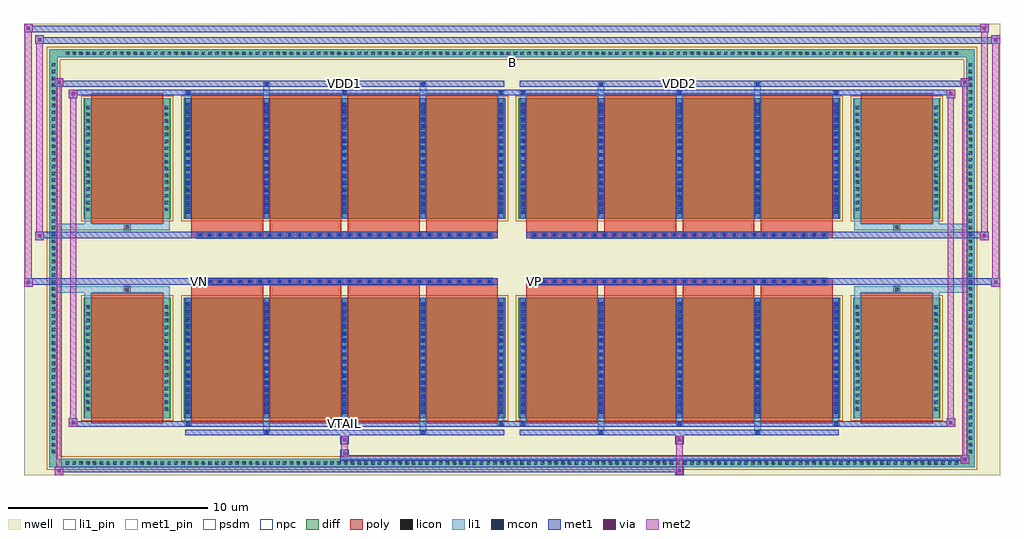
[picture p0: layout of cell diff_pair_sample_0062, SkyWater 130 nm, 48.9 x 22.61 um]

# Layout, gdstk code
import gdstk
lib = gdstk.Library(unit=1e-6, precision=5e-09)
def R(c, l, rs):  # rectangles x0, y0, x1, y1
    for r in rs: c.add(gdstk.rectangle(r[:2], r[2:], *l))
def A(c, l, x, y, w, h, nx, ny, dx, dy):  # array of equal rectangles
    R(c, l, [(x+i*dx, y+j*dy, x+i*dx+w, y+j*dy+h) for i in range(nx) for j in range(ny)])
def P(c, l, *ps):  # polygons
    for p in ps: c.add(gdstk.Polygon(p, *l))
nwell = (64, 20)
diff = (65, 20)
poly = (66, 20)
licon = (66, 44)
li1_pin = (67, 16)
li1 = (67, 20)
mcon = (67, 44)
met1_pin = (68, 16)
met1 = (68, 20)
via = (68, 44)
met2 = (69, 20)
psdm = (94, 20)
npc = (95, 20)

diff_pair_sample_0062 = lib.new_cell('diff_pair_sample_0062')
R(diff_pair_sample_0062, nwell, [(-24.45,-10.87,24.45,11.74), (-21.77,-9.06,-0.01,-0.8), (0.01,-9.06,21.77,-0.8), (-21.77,0.8,-0.01,9.06), (0.01,0.8,21.77,9.06)])
A(diff_pair_sample_0062, diff, -22.475, -10.47, 0.41, 0.41, 132, 2, 0.34, 20.53)
A(diff_pair_sample_0062, diff, -23.18, -9.895, 0.41, 0.41, 1, 58, 0, 0.34)
A(diff_pair_sample_0062, diff, 22.77, -9.895, 0.41, 0.41, 1, 58, 0, 0.34)
R(diff_pair_sample_0062, diff, [(-22.475,-10.47,22.475,-10.06), (-23.18,-9.895,-22.77,9.895), (22.77,-9.895,23.18,9.895), (-21.46,-8.015,-17.09,-1.985), (-16.45,-8.015,-0.32,-1.985), (0.32,-8.015,16.45,-1.985), (17.09,-8.015,21.46,-1.985), (-21.46,1.985,-17.09,8.015), (-16.45,1.985,-0.32,8.015), (0.32,1.985,16.45,8.015), (17.09,1.985,21.46,8.015), (-22.475,10.06,22.475,10.47)])
P(diff_pair_sample_0062, diff, [(23.18,10.47),(-23.18,10.47),(-23.18,-10.06),(-22.77,-10.06),(-22.77,10.06),(22.77,10.06),(22.77,-10.06),(-22.77,-10.06),(-23.18,-10.06),(-23.18,-10.47),(23.18,-10.47)])
A(diff_pair_sample_0062, poly, -16.06, -8.265, 3.59, 6.53, 4, 2, 3.92, 10)
A(diff_pair_sample_0062, poly, 0.71, -8.265, 3.59, 6.53, 4, 2, 3.92, 10)
A(diff_pair_sample_0062, poly, -16.06, -1.735, 3.59, 0.405, 4, 2, 3.92, 3.065)
A(diff_pair_sample_0062, poly, 0.71, -1.735, 3.59, 0.405, 4, 2, 3.92, 3.065)
A(diff_pair_sample_0062, poly, -15.8, -1.33, 0.33, 0.33, 30, 2, 0.5, 2.33)
A(diff_pair_sample_0062, poly, 0.97, -1.33, 0.33, 0.33, 30, 2, 0.5, 2.33)
R(diff_pair_sample_0062, poly, [(-21.07,-8.265,-17.48,-1.735), (17.48,-8.265,21.07,-1.735), (-19.44,-1.735,-19.11,-1.405), (-19.44,-1.735,-19.11,-1.405), (19.11,-1.735,19.44,-1.405), (19.11,-1.735,19.44,-1.405), (-16.06,-1.33,-0.71,-1), (0.71,-1.33,16.06,-1), (-16.06,1,-0.71,1.33), (0.71,1,16.06,1.33), (-19.44,1.405,-19.11,1.735), (-19.44,1.405,-19.11,1.735), (19.11,1.405,19.44,1.735), (19.11,1.405,19.44,1.735), (-21.07,1.735,-17.48,8.265), (17.48,1.735,21.07,8.265)])
A(diff_pair_sample_0062, licon, -22.355, -10.35, 0.17, 0.17, 132, 2, 0.34, 20.53)
A(diff_pair_sample_0062, licon, -23.06, -9.775, 0.17, 0.17, 1, 58, 0, 0.34)
A(diff_pair_sample_0062, licon, 22.89, -9.775, 0.17, 0.17, 1, 58, 0, 0.34)
A(diff_pair_sample_0062, licon, -21.32, -7.635, 0.17, 0.17, 1, 16, 0, 0.34)
A(diff_pair_sample_0062, licon, -17.4, -7.635, 0.17, 0.17, 1, 16, 0, 0.34)
A(diff_pair_sample_0062, licon, -16.31, -7.635, 0.17, 0.17, 5, 16, 3.92, 0.34)
A(diff_pair_sample_0062, licon, 0.46, -7.635, 0.17, 0.17, 5, 16, 3.92, 0.34)
A(diff_pair_sample_0062, licon, 17.23, -7.635, 0.17, 0.17, 1, 16, 0, 0.34)
A(diff_pair_sample_0062, licon, 21.15, -7.635, 0.17, 0.17, 1, 16, 0, 0.34)
A(diff_pair_sample_0062, licon, -15.72, -1.25, 0.17, 0.17, 30, 2, 0.5, 2.33)
A(diff_pair_sample_0062, licon, 1.05, -1.25, 0.17, 0.17, 30, 2, 0.5, 2.33)
A(diff_pair_sample_0062, licon, -21.32, 2.365, 0.17, 0.17, 1, 16, 0, 0.34)
A(diff_pair_sample_0062, licon, -17.4, 2.365, 0.17, 0.17, 1, 16, 0, 0.34)
A(diff_pair_sample_0062, licon, -16.31, 2.365, 0.17, 0.17, 5, 16, 3.92, 0.34)
A(diff_pair_sample_0062, licon, 0.46, 2.365, 0.17, 0.17, 5, 16, 3.92, 0.34)
A(diff_pair_sample_0062, licon, 17.23, 2.365, 0.17, 0.17, 1, 16, 0, 0.34)
A(diff_pair_sample_0062, licon, 21.15, 2.365, 0.17, 0.17, 1, 16, 0, 0.34)
R(diff_pair_sample_0062, licon, [(-19.36,-1.655,-19.19,-1.485), (19.19,-1.655,19.36,-1.485), (-19.36,1.485,-19.19,1.655), (19.19,1.485,19.36,1.655)])
R(diff_pair_sample_0062, li1_pin, [(-0.25,9.56,0.25,10.06)])
A(diff_pair_sample_0062, li1, -22.435, -10.43, 0.33, 0.33, 132, 2, 0.34, 20.53)
A(diff_pair_sample_0062, li1, -23.14, -9.855, 0.33, 0.33, 1, 58, 0, 0.34)
A(diff_pair_sample_0062, li1, 22.81, -9.855, 0.33, 0.33, 1, 58, 0, 0.34)
A(diff_pair_sample_0062, li1, -16.39, -8.39, 0.33, 0.375, 3, 2, 7.84, 16.405)
A(diff_pair_sample_0062, li1, -16.31, -8.39, 0.17, 0.17, 3, 2, 7.84, 16.61)
A(diff_pair_sample_0062, li1, 0.38, -8.39, 0.33, 0.375, 3, 2, 7.84, 16.405)
A(diff_pair_sample_0062, li1, 0.46, -8.39, 0.17, 0.17, 3, 2, 7.84, 16.61)
A(diff_pair_sample_0062, li1, -16.39, -8.015, 0.33, 6.03, 5, 2, 3.92, 10)
A(diff_pair_sample_0062, li1, 0.38, -8.015, 0.33, 6.03, 5, 2, 3.92, 10)
A(diff_pair_sample_0062, li1, -16.31, -7.785, 0.17, 0.17, 5, 16, 3.92, 0.36)
A(diff_pair_sample_0062, li1, -16.31, -7.785, 0.17, 5.57, 5, 2, 3.92, 10)
A(diff_pair_sample_0062, li1, 0.46, -7.785, 0.17, 0.17, 5, 16, 3.92, 0.36)
A(diff_pair_sample_0062, li1, 0.46, -7.785, 0.17, 5.57, 5, 2, 3.92, 10)
A(diff_pair_sample_0062, li1, -21.4, -7.715, 0.33, 0.33, 1, 16, 0, 0.34)
A(diff_pair_sample_0062, li1, -17.48, -7.715, 0.33, 0.33, 1, 16, 0, 0.34)
A(diff_pair_sample_0062, li1, -16.39, -7.715, 0.33, 0.33, 5, 16, 3.92, 0.34)
A(diff_pair_sample_0062, li1, 0.38, -7.715, 0.33, 0.33, 5, 16, 3.92, 0.34)
A(diff_pair_sample_0062, li1, 17.15, -7.715, 0.33, 0.33, 1, 16, 0, 0.34)
A(diff_pair_sample_0062, li1, 21.07, -7.715, 0.33, 0.33, 1, 16, 0, 0.34)
A(diff_pair_sample_0062, li1, -15.8, -1.33, 0.33, 0.33, 30, 2, 0.5, 2.33)
A(diff_pair_sample_0062, li1, 0.97, -1.33, 0.33, 0.33, 30, 2, 0.5, 2.33)
A(diff_pair_sample_0062, li1, -16.31, 2.215, 0.17, 0.17, 5, 16, 3.92, 0.36)
A(diff_pair_sample_0062, li1, 0.46, 2.215, 0.17, 0.17, 5, 16, 3.92, 0.36)
A(diff_pair_sample_0062, li1, -21.4, 2.285, 0.33, 0.33, 1, 16, 0, 0.34)
A(diff_pair_sample_0062, li1, -17.48, 2.285, 0.33, 0.33, 1, 16, 0, 0.34)
A(diff_pair_sample_0062, li1, -16.39, 2.285, 0.33, 0.33, 5, 16, 3.92, 0.34)
A(diff_pair_sample_0062, li1, 0.38, 2.285, 0.33, 0.33, 5, 16, 3.92, 0.34)
A(diff_pair_sample_0062, li1, 17.15, 2.285, 0.33, 0.33, 1, 16, 0, 0.34)
A(diff_pair_sample_0062, li1, 21.07, 2.285, 0.33, 0.33, 1, 16, 0, 0.34)
R(diff_pair_sample_0062, li1, [(-23.18,-10.47,-22.77,-10.06), (-23.18,-10.47,-22.77,-10.06), (-22.77,-10.47,22.77,-10.06), (22.77,-10.47,23.18,-10.06), (22.77,-10.47,23.18,-10.06), (-23.18,-10.06,-22.77,10.06), (22.77,-10.06,23.18,10.06), (-12.47,-8.82,-12.14,-8.015), (-12.39,-8.82,-12.22,-8.65), (-4.63,-8.82,-4.3,-8.015), (-4.55,-8.82,-4.38,-8.65), (4.3,-8.82,4.63,-8.015), (4.38,-8.82,4.55,-8.65), (12.14,-8.82,12.47,-8.015), (12.22,-8.82,12.39,-8.65), (-21.4,-8.015,-21.07,-1.985), (-17.48,-8.015,-17.15,-1.985), (17.15,-8.015,17.48,-1.985), (21.07,-8.015,21.4,-1.985), (-21.4,-1.985,-21.07,-1.405), (-17.48,-1.985,-17.15,-1.405), (17.15,-1.985,17.48,-1.405), (21.07,-1.985,21.4,-1.405), (-23.18,-1.735,-19.44,-1.405), (-21.4,-1.735,-19.44,-1.405), (-19.44,-1.735,-19.11,-1.405), (-19.11,-1.735,-17.15,-1.405), (17.15,-1.735,19.11,-1.405), (19.11,-1.735,19.44,-1.405), (19.11,-1.735,23.18,-1.405), (19.44,-1.735,21.4,-1.405), (-23.18,1.405,-19.44,1.735), (-21.4,1.405,-19.44,1.735), (-21.4,1.405,-21.07,1.985), (-19.44,1.405,-19.11,1.735), (-19.11,1.405,-17.15,1.735), (-17.48,1.405,-17.15,1.985), (17.15,1.405,19.11,1.735), (17.15,1.405,17.48,1.985), (19.11,1.405,19.44,1.735), (19.11,1.405,23.18,1.735), (19.44,1.405,21.4,1.735), (21.07,1.405,21.4,1.985), (-21.4,1.985,-21.07,8.015), (-17.48,1.985,-17.15,8.015), (17.15,1.985,17.48,8.015), (21.07,1.985,21.4,8.015), (-12.47,8.015,-12.14,8.82), (-4.63,8.015,-4.3,8.82), (4.3,8.015,4.63,8.82), (12.14,8.015,12.47,8.82), (-12.39,8.65,-12.22,8.82), (-4.55,8.65,-4.38,8.82), (4.38,8.65,4.55,8.82), (12.22,8.65,12.39,8.82), (-23.18,10.06,-22.77,10.47), (-23.18,10.06,-22.77,10.47), (-22.77,10.06,22.77,10.47), (22.77,10.06,23.18,10.47), (22.77,10.06,23.18,10.47)])
A(diff_pair_sample_0062, mcon, -16.31, -8.39, 0.17, 0.17, 3, 2, 7.84, 16.61)
A(diff_pair_sample_0062, mcon, 0.46, -8.39, 0.17, 0.17, 3, 2, 7.84, 16.61)
A(diff_pair_sample_0062, mcon, -16.31, -7.785, 0.17, 0.17, 5, 16, 3.92, 0.36)
A(diff_pair_sample_0062, mcon, 0.46, -7.785, 0.17, 0.17, 5, 16, 3.92, 0.36)
A(diff_pair_sample_0062, mcon, -15.72, -1.25, 0.17, 0.17, 30, 2, 0.5, 2.33)
A(diff_pair_sample_0062, mcon, 1.05, -1.25, 0.17, 0.17, 30, 2, 0.5, 2.33)
A(diff_pair_sample_0062, mcon, -16.31, 2.215, 0.17, 0.17, 5, 16, 3.92, 0.36)
A(diff_pair_sample_0062, mcon, 0.46, 2.215, 0.17, 0.17, 5, 16, 3.92, 0.36)
R(diff_pair_sample_0062, mcon, [(-12.39,-8.82,-12.22,-8.65), (-4.55,-8.82,-4.38,-8.65), (4.38,-8.82,4.55,-8.65), (12.22,-8.82,12.39,-8.65), (-12.39,8.65,-12.22,8.82), (-4.55,8.65,-4.38,8.82), (4.38,8.65,4.55,8.82), (12.22,8.65,12.39,8.82)])
R(diff_pair_sample_0062, met1_pin, [(-8.52,-8.43,-8.25,-8.16), (-15.77,-1.29,-15.5,-1.02), (1,-1.29,1.27,-1.02), (-8.52,8.61,-8.25,8.88), (8.25,8.61,8.52,8.88)])
A(diff_pair_sample_0062, met1, -16.37, -8.45, 0.29, 0.29, 3, 2, 7.84, 16.61)
A(diff_pair_sample_0062, met1, 0.4, -8.45, 0.29, 0.29, 3, 2, 7.84, 16.61)
A(diff_pair_sample_0062, met1, -16.37, -8.015, 0.29, 6.03, 5, 2, 3.92, 10)
A(diff_pair_sample_0062, met1, 0.4, -8.015, 0.29, 6.03, 5, 2, 3.92, 10)
A(diff_pair_sample_0062, met1, -16.37, -7.845, 0.29, 0.29, 5, 16, 3.92, 0.36)
A(diff_pair_sample_0062, met1, 0.4, -7.845, 0.29, 0.29, 5, 16, 3.92, 0.36)
A(diff_pair_sample_0062, met1, -15.78, -1.31, 0.29, 0.29, 30, 2, 0.5, 2.33)
A(diff_pair_sample_0062, met1, 0.99, -1.31, 0.29, 0.29, 30, 2, 0.5, 2.33)
A(diff_pair_sample_0062, met1, -16.37, 2.155, 0.29, 0.29, 5, 16, 3.92, 0.36)
A(diff_pair_sample_0062, met1, 0.4, 2.155, 0.29, 0.29, 5, 16, 3.92, 0.36)
R(diff_pair_sample_0062, met1, [(-22.91,-10.87,-22.48,-10.44), (8.17,-10.87,8.6,-10.44), (-22.91,-10.73,8.6,-10.44), (22.48,-10.3,22.91,-9.87), (-8.6,-10.16,22.91,-9.87), (-8.6,-10.02,-8.17,-9.59), (-8.6,-9.31,-8.17,-8.88), (8.17,-9.31,8.6,-8.88), (-16.37,-8.88,-0.4,-8.59), (-12.45,-8.88,-12.16,-8.59), (-4.61,-8.88,-4.32,-8.59), (0.4,-8.88,16.37,-8.59), (4.32,-8.88,4.61,-8.59), (12.16,-8.88,12.45,-8.59), (-22.2,-8.45,-21.77,-8.02), (-22.2,-8.45,-16.37,-8.16), (-16.37,-8.45,-0.4,-8.16), (-0.4,-8.45,0.4,-8.16), (0.4,-8.45,16.37,-8.16), (16.37,-8.45,22.2,-8.16), (21.77,-8.45,22.2,-8.02), (-24.45,-1.43,-24.02,-1), (24.02,-1.43,24.45,-1), (-24.45,-1.33,-0.71,-1), (-16.06,-1.33,-0.71,-1), (0.71,-1.33,16.06,-1), (0.71,-1.33,24.45,-1), (-23.88,0.9,-23.45,1.33), (23.45,0.9,23.88,1.33), (-23.88,1,-16.06,1.33), (-16.06,1,-0.71,1.33), (0.71,1,16.06,1.33), (16.06,1,23.88,1.33), (-22.2,8.02,-21.77,8.45), (21.77,8.02,22.2,8.45), (-22.2,8.16,-16.37,8.45), (-16.37,8.16,-0.4,8.45), (-0.4,8.16,0.4,8.45), (0.4,8.16,16.37,8.45), (16.37,8.16,22.2,8.45), (-22.91,8.59,-22.48,9.02), (-22.91,8.59,-16.37,8.88), (-16.37,8.59,-0.4,8.88), (-12.45,8.59,-12.16,8.88), (-4.61,8.59,-4.32,8.88), (0.4,8.59,16.37,8.88), (4.32,8.59,4.61,8.88), (12.16,8.59,12.45,8.88), (16.37,8.59,22.91,8.88), (22.48,8.59,22.91,9.02), (-23.88,10.74,-23.45,11.17), (-23.88,10.74,-21.77,11.07), (-21.77,10.74,21.77,11.07), (21.77,10.74,24.45,11.07), (24.02,10.74,24.45,11.17), (-24.45,11.31,-24.02,11.74), (-24.45,11.31,-21.77,11.64), (-21.77,11.31,21.77,11.64), (21.77,11.31,23.88,11.64), (23.45,11.31,23.88,11.74)])
R(diff_pair_sample_0062, via, [(-22.77,-10.73,-22.62,-10.58), (8.31,-10.73,8.46,-10.58), (22.62,-10.16,22.77,-10.01), (-8.46,-9.88,-8.31,-9.73), (-8.46,-9.17,-8.31,-9.02), (8.31,-9.17,8.46,-9.02), (-22.06,-8.31,-21.91,-8.16), (21.91,-8.31,22.06,-8.16), (-24.31,-1.29,-24.16,-1.14), (24.16,-1.29,24.31,-1.14), (-23.74,1.04,-23.59,1.19), (23.59,1.04,23.74,1.19), (-22.06,8.16,-21.91,8.31), (21.91,8.16,22.06,8.31), (-22.77,8.73,-22.62,8.88), (22.62,8.73,22.77,8.88), (-23.74,10.88,-23.59,11.03), (24.16,10.88,24.31,11.03), (-24.31,11.45,-24.16,11.6), (23.59,11.45,23.74,11.6)])
R(diff_pair_sample_0062, met2, [(-22.91,-10.87,-22.48,-10.44), (-22.84,-10.87,-22.55,9.02), (-22.55,-10.87,-22.48,-10.44), (-22.86,-10.82,-22.53,-10.49), (8.22,-10.82,8.55,-10.49), (8.22,-10.49,8.55,-9.26), (22.48,-10.3,22.91,-9.87), (22.55,-10.3,22.84,9.02), (22.84,-10.3,22.91,-9.87), (22.53,-10.25,22.86,-9.92), (-8.55,-9.97,-8.22,-9.64), (-8.55,-9.64,-8.22,-9.26), (-8.55,-9.26,-8.22,-8.93), (8.22,-9.26,8.55,-8.93), (-22.2,-8.45,-21.77,-8.02), (-22.13,-8.45,-21.84,8.45), (-21.84,-8.45,-21.77,-8.02), (21.77,-8.45,22.2,-8.02), (21.84,-8.45,22.13,8.45), (22.13,-8.45,22.2,-8.02), (-22.15,-8.4,-21.82,-8.07), (21.82,-8.4,22.15,-8.07), (-24.45,-1.43,-24.02,-1), (-24.4,-1.43,-24.07,11.74), (-24.07,-1.43,-24.02,-1), (24.02,-1.43,24.45,-1), (24.07,-1.43,24.4,11.17), (24.4,-1.43,24.45,-1), (-24.4,-1.38,-24.07,-1.05), (24.07,-1.38,24.4,-1.05), (-23.88,0.9,-23.45,1.33), (-23.83,0.9,-23.5,11.17), (-23.5,0.9,-23.45,1.33), (23.45,0.9,23.88,1.33), (23.5,0.9,23.83,11.74), (23.83,0.9,23.88,1.33), (-23.83,0.95,-23.5,1.28), (23.5,0.95,23.83,1.28), (-22.2,8.02,-21.77,8.45), (-21.84,8.02,-21.77,8.45), (21.77,8.02,22.2,8.45), (22.13,8.02,22.2,8.45), (-22.15,8.07,-21.82,8.4), (21.82,8.07,22.15,8.4), (-22.91,8.59,-22.48,9.02), (-22.55,8.59,-22.48,9.02), (22.48,8.59,22.91,9.02), (22.84,8.59,22.91,9.02), (-22.86,8.64,-22.53,8.97), (22.53,8.64,22.86,8.97), (-23.88,10.74,-23.45,11.17), (-23.5,10.74,-23.45,11.17), (24.02,10.74,24.45,11.17), (24.4,10.74,24.45,11.17), (-23.83,10.79,-23.5,11.12), (24.07,10.79,24.4,11.12), (-24.45,11.31,-24.02,11.74), (-24.07,11.31,-24.02,11.74), (23.45,11.31,23.88,11.74), (23.83,11.31,23.88,11.74), (-24.4,11.36,-24.07,11.69), (23.5,11.36,23.83,11.69)])
R(diff_pair_sample_0062, psdm, [(-21.59,-8.145,-16.96,-1.855), (-16.58,-8.145,-0.19,-1.855), (0.19,-8.145,16.58,-1.855), (16.96,-8.145,21.59,-1.855), (-21.59,1.855,-16.96,8.145), (-16.58,1.855,-0.19,8.145), (0.19,1.855,16.58,8.145), (16.96,1.855,21.59,8.145)])
P(diff_pair_sample_0062, psdm, [(23.31,10.6),(-23.31,10.6),(-23.31,-9.93),(-22.64,-9.93),(-22.64,9.93),(22.64,9.93),(22.64,-9.93),(-22.64,-9.93),(-23.31,-9.93),(-23.31,-10.6),(23.31,-10.6)])
A(diff_pair_sample_0062, npc, -15.82, -1.35, 0.37, 0.37, 30, 2, 0.5, 2.33)
A(diff_pair_sample_0062, npc, 0.95, -1.35, 0.37, 0.37, 30, 2, 0.5, 2.33)
R(diff_pair_sample_0062, npc, [(-19.46,-1.755,-19.09,-1.385), (19.09,-1.755,19.46,-1.385), (-15.82,-1.35,-14.95,-0.98), (-15.82,-1.35,-14.95,-0.98), (-15.32,-1.35,-14.45,-0.98), (-15.32,-1.35,-14.45,-0.98), (-14.82,-1.35,-13.95,-0.98), (-14.82,-1.35,-13.95,-0.98), (-14.32,-1.35,-13.45,-0.98), (-14.32,-1.35,-13.45,-0.98), (-13.82,-1.35,-12.95,-0.98), (-13.82,-1.35,-12.95,-0.98), (-13.32,-1.35,-12.45,-0.98), (-13.32,-1.35,-12.45,-0.98), (-12.82,-1.35,-11.95,-0.98), (-12.82,-1.35,-11.95,-0.98), (-12.32,-1.35,-11.45,-0.98), (-12.32,-1.35,-11.45,-0.98), (-11.82,-1.35,-10.95,-0.98), (-11.82,-1.35,-10.95,-0.98), (-11.32,-1.35,-10.45,-0.98), (-11.32,-1.35,-10.45,-0.98), (-10.82,-1.35,-9.95,-0.98), (-10.82,-1.35,-9.95,-0.98), (-10.32,-1.35,-9.45,-0.98), (-10.32,-1.35,-9.45,-0.98), (-9.82,-1.35,-8.95,-0.98), (-9.82,-1.35,-8.95,-0.98), (-9.32,-1.35,-8.45,-0.98), (-9.32,-1.35,-8.45,-0.98), (-8.82,-1.35,-7.95,-0.98), (-8.82,-1.35,-7.95,-0.98), (-8.32,-1.35,-7.45,-0.98), (-8.32,-1.35,-7.45,-0.98), (-7.82,-1.35,-6.95,-0.98), (-7.82,-1.35,-6.95,-0.98), (-7.32,-1.35,-6.45,-0.98), (-7.32,-1.35,-6.45,-0.98), (-6.82,-1.35,-5.95,-0.98), (-6.82,-1.35,-5.95,-0.98), (-6.32,-1.35,-5.45,-0.98), (-6.32,-1.35,-5.45,-0.98), (-5.82,-1.35,-4.95,-0.98), (-5.82,-1.35,-4.95,-0.98), (-5.32,-1.35,-4.45,-0.98), (-5.32,-1.35,-4.45,-0.98), (-4.82,-1.35,-3.95,-0.98), (-4.82,-1.35,-3.95,-0.98), (-4.32,-1.35,-3.45,-0.98), (-4.32,-1.35,-3.45,-0.98), (-3.82,-1.35,-2.95,-0.98), (-3.82,-1.35,-2.95,-0.98), (-3.32,-1.35,-2.45,-0.98), (-3.32,-1.35,-2.45,-0.98), (-2.82,-1.35,-1.95,-0.98), (-2.82,-1.35,-1.95,-0.98), (-2.32,-1.35,-1.45,-0.98), (-2.32,-1.35,-1.45,-0.98), (-1.82,-1.35,-0.95,-0.98), (-1.82,-1.35,-0.95,-0.98), (0.95,-1.35,1.82,-0.98), (0.95,-1.35,1.82,-0.98), (1.45,-1.35,2.32,-0.98), (1.45,-1.35,2.32,-0.98), (1.95,-1.35,2.82,-0.98), (1.95,-1.35,2.82,-0.98), (2.45,-1.35,3.32,-0.98), (2.45,-1.35,3.32,-0.98), (2.95,-1.35,3.82,-0.98), (2.95,-1.35,3.82,-0.98), (3.45,-1.35,4.32,-0.98), (3.45,-1.35,4.32,-0.98), (3.95,-1.35,4.82,-0.98), (3.95,-1.35,4.82,-0.98), (4.45,-1.35,5.32,-0.98), (4.45,-1.35,5.32,-0.98), (4.95,-1.35,5.82,-0.98), (4.95,-1.35,5.82,-0.98), (5.45,-1.35,6.32,-0.98), (5.45,-1.35,6.32,-0.98), (5.95,-1.35,6.82,-0.98), (5.95,-1.35,6.82,-0.98), (6.45,-1.35,7.32,-0.98), (6.45,-1.35,7.32,-0.98), (6.95,-1.35,7.82,-0.98), (6.95,-1.35,7.82,-0.98), (7.45,-1.35,8.32,-0.98), (7.45,-1.35,8.32,-0.98), (7.95,-1.35,8.82,-0.98), (7.95,-1.35,8.82,-0.98), (8.45,-1.35,9.32,-0.98), (8.45,-1.35,9.32,-0.98), (8.95,-1.35,9.82,-0.98), (8.95,-1.35,9.82,-0.98), (9.45,-1.35,10.32,-0.98), (9.45,-1.35,10.32,-0.98), (9.95,-1.35,10.82,-0.98), (9.95,-1.35,10.82,-0.98), (10.45,-1.35,11.32,-0.98), (10.45,-1.35,11.32,-0.98), (10.95,-1.35,11.82,-0.98), (10.95,-1.35,11.82,-0.98), (11.45,-1.35,12.32,-0.98), (11.45,-1.35,12.32,-0.98), (11.95,-1.35,12.82,-0.98), (11.95,-1.35,12.82,-0.98), (12.45,-1.35,13.32,-0.98), (12.45,-1.35,13.32,-0.98), (12.95,-1.35,13.82,-0.98), (12.95,-1.35,13.82,-0.98), (13.45,-1.35,14.32,-0.98), (13.45,-1.35,14.32,-0.98), (13.95,-1.35,14.82,-0.98), (13.95,-1.35,14.82,-0.98), (14.45,-1.35,15.32,-0.98), (14.45,-1.35,15.32,-0.98), (14.95,-1.35,15.82,-0.98), (14.95,-1.35,15.82,-0.98), (-15.82,0.98,-14.95,1.35), (-15.82,0.98,-14.95,1.35), (-15.32,0.98,-14.45,1.35), (-15.32,0.98,-14.45,1.35), (-14.82,0.98,-13.95,1.35), (-14.82,0.98,-13.95,1.35), (-14.32,0.98,-13.45,1.35), (-14.32,0.98,-13.45,1.35), (-13.82,0.98,-12.95,1.35), (-13.82,0.98,-12.95,1.35), (-13.32,0.98,-12.45,1.35), (-13.32,0.98,-12.45,1.35), (-12.82,0.98,-11.95,1.35), (-12.82,0.98,-11.95,1.35), (-12.32,0.98,-11.45,1.35), (-12.32,0.98,-11.45,1.35), (-11.82,0.98,-10.95,1.35), (-11.82,0.98,-10.95,1.35), (-11.32,0.98,-10.45,1.35), (-11.32,0.98,-10.45,1.35), (-10.82,0.98,-9.95,1.35), (-10.82,0.98,-9.95,1.35), (-10.32,0.98,-9.45,1.35), (-10.32,0.98,-9.45,1.35), (-9.82,0.98,-8.95,1.35), (-9.82,0.98,-8.95,1.35), (-9.32,0.98,-8.45,1.35), (-9.32,0.98,-8.45,1.35), (-8.82,0.98,-7.95,1.35), (-8.82,0.98,-7.95,1.35), (-8.32,0.98,-7.45,1.35), (-8.32,0.98,-7.45,1.35), (-7.82,0.98,-6.95,1.35), (-7.82,0.98,-6.95,1.35), (-7.32,0.98,-6.45,1.35), (-7.32,0.98,-6.45,1.35), (-6.82,0.98,-5.95,1.35), (-6.82,0.98,-5.95,1.35), (-6.32,0.98,-5.45,1.35), (-6.32,0.98,-5.45,1.35), (-5.82,0.98,-4.95,1.35), (-5.82,0.98,-4.95,1.35), (-5.32,0.98,-4.45,1.35), (-5.32,0.98,-4.45,1.35), (-4.82,0.98,-3.95,1.35), (-4.82,0.98,-3.95,1.35), (-4.32,0.98,-3.45,1.35), (-4.32,0.98,-3.45,1.35), (-3.82,0.98,-2.95,1.35), (-3.82,0.98,-2.95,1.35), (-3.32,0.98,-2.45,1.35), (-3.32,0.98,-2.45,1.35), (-2.82,0.98,-1.95,1.35), (-2.82,0.98,-1.95,1.35), (-2.32,0.98,-1.45,1.35), (-2.32,0.98,-1.45,1.35), (-1.82,0.98,-0.95,1.35), (-1.82,0.98,-0.95,1.35), (0.95,0.98,1.82,1.35), (0.95,0.98,1.82,1.35), (1.45,0.98,2.32,1.35), (1.45,0.98,2.32,1.35), (1.95,0.98,2.82,1.35), (1.95,0.98,2.82,1.35), (2.45,0.98,3.32,1.35), (2.45,0.98,3.32,1.35), (2.95,0.98,3.82,1.35), (2.95,0.98,3.82,1.35), (3.45,0.98,4.32,1.35), (3.45,0.98,4.32,1.35), (3.95,0.98,4.82,1.35), (3.95,0.98,4.82,1.35), (4.45,0.98,5.32,1.35), (4.45,0.98,5.32,1.35), (4.95,0.98,5.82,1.35), (4.95,0.98,5.82,1.35), (5.45,0.98,6.32,1.35), (5.45,0.98,6.32,1.35), (5.95,0.98,6.82,1.35), (5.95,0.98,6.82,1.35), (6.45,0.98,7.32,1.35), (6.45,0.98,7.32,1.35), (6.95,0.98,7.82,1.35), (6.95,0.98,7.82,1.35), (7.45,0.98,8.32,1.35), (7.45,0.98,8.32,1.35), (7.95,0.98,8.82,1.35), (7.95,0.98,8.82,1.35), (8.45,0.98,9.32,1.35), (8.45,0.98,9.32,1.35), (8.95,0.98,9.82,1.35), (8.95,0.98,9.82,1.35), (9.45,0.98,10.32,1.35), (9.45,0.98,10.32,1.35), (9.95,0.98,10.82,1.35), (9.95,0.98,10.82,1.35), (10.45,0.98,11.32,1.35), (10.45,0.98,11.32,1.35), (10.95,0.98,11.82,1.35), (10.95,0.98,11.82,1.35), (11.45,0.98,12.32,1.35), (11.45,0.98,12.32,1.35), (11.95,0.98,12.82,1.35), (11.95,0.98,12.82,1.35), (12.45,0.98,13.32,1.35), (12.45,0.98,13.32,1.35), (12.95,0.98,13.82,1.35), (12.95,0.98,13.82,1.35), (13.45,0.98,14.32,1.35), (13.45,0.98,14.32,1.35), (13.95,0.98,14.82,1.35), (13.95,0.98,14.82,1.35), (14.45,0.98,15.32,1.35), (14.45,0.98,15.32,1.35), (14.95,0.98,15.82,1.35), (14.95,0.98,15.82,1.35), (-19.46,1.385,-19.09,1.755), (19.09,1.385,19.46,1.755)])
diff_pair_sample_0062.add(gdstk.Label('VTAIL', (-8.385,-8.295), layer=68, texttype=5))
diff_pair_sample_0062.add(gdstk.Label('VN', (-15.635,-1.155), layer=68, texttype=5))
diff_pair_sample_0062.add(gdstk.Label('VP', (1.135,-1.155), layer=68, texttype=5))
diff_pair_sample_0062.add(gdstk.Label('B', (0,9.81), layer=67, texttype=5))
diff_pair_sample_0062.add(gdstk.Label('VDD2', (8.385,8.745), layer=68, texttype=5))
diff_pair_sample_0062.add(gdstk.Label('VDD1', (-8.385,8.745), layer=68, texttype=5))

lib.write_gds('diff_pair_sample_0062.gds')
